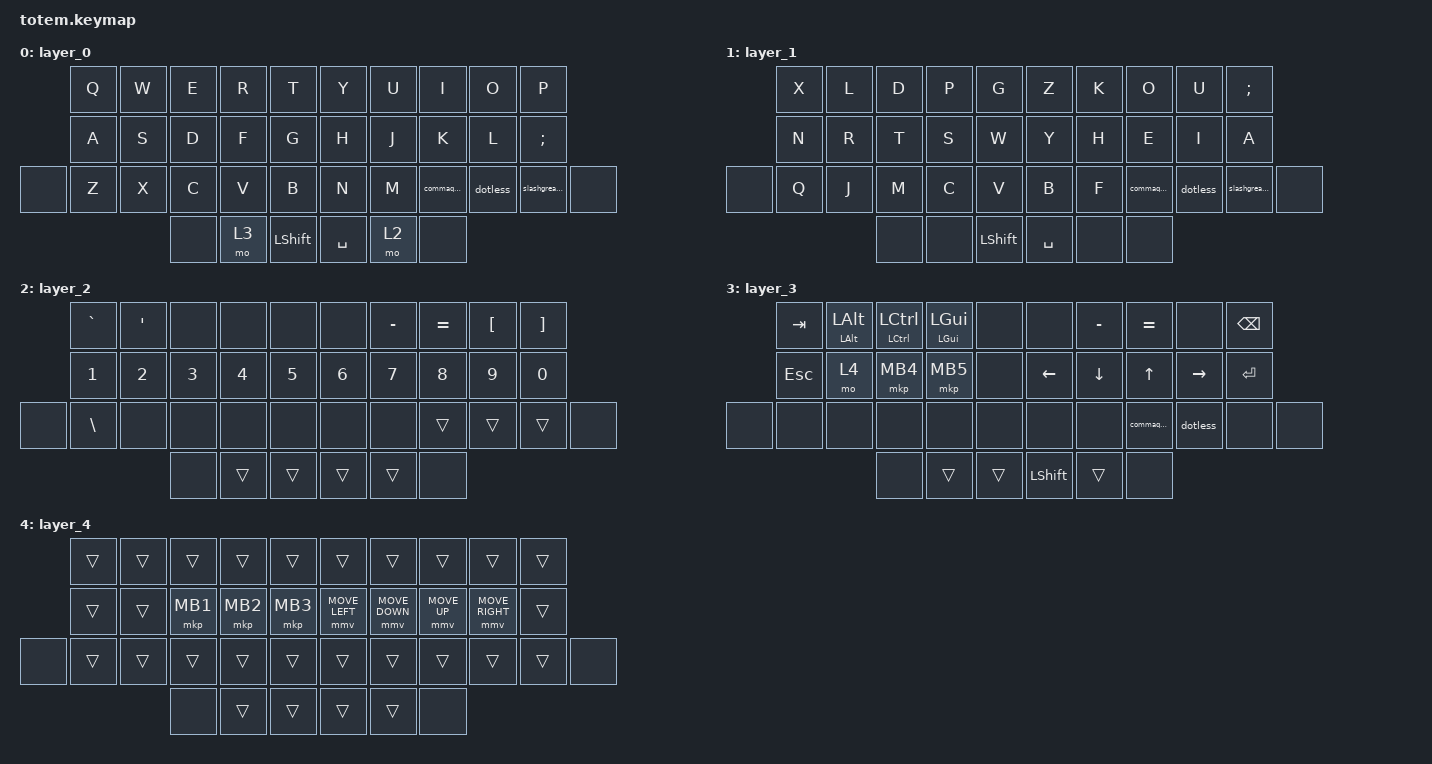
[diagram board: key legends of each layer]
#define ZMK_POINTING_DEFAULT_MOVE_VAL 1200

#include <behaviors.dtsi>
#include <dt-bindings/zmk/bt.h>
#include <dt-bindings/zmk/keys.h>
#include <dt-bindings/zmk/pointing.h>

/ {
    behaviors {
        commaqmrk: commaqmrk {
            compatible = "zmk,behavior-mod-morph";
            label = "COMMAQMRK";
            bindings = <&kp COMMA>, <&kp QUESTION>;

            #binding-cells = <0>;
            mods = <(MOD_LSFT|MOD_RSFT)>;
        };

        dotless: dotless {
            compatible = "zmk,behavior-mod-morph";
            label = "DOTLESS";
            bindings = <&kp PERIOD>, <&kp LESS_THAN>;

            #binding-cells = <0>;
            mods = <(MOD_LSFT|MOD_RSFT)>;
        };

        slashgreater: slashgreater {
            compatible = "zmk,behavior-mod-morph";
            label = "SLASHGREATER";
            bindings = <&kp SLASH>, <&kp GREATER_THAN>;

            #binding-cells = <0>;
            mods = <(MOD_LSFT|MOD_RSFT)>;
        };

        stickyhold: stickyhold {
            compatible = "zmk,behavior-hold-tap";
            label = "STICKYHOLD";
            bindings = <&kp>, <&sk>;

            #binding-cells = <2>;
            tapping-term-ms = <300>;
        };
    };

    keymap {
        compatible = "zmk,keymap";

        layer_0 {
            bindings = <
       &kp Q  &kp W  &kp E  &kp R  &kp T        &kp Y      &kp U  &kp I      &kp O     &kp P
       &kp A  &kp S  &kp D  &kp F  &kp G        &kp H      &kp J  &kp K      &kp L     &kp SEMI
&none  &kp Z  &kp X  &kp C  &kp V  &kp B        &kp N      &kp M  &commaqmrk  &dotless  &slashgreater  &none
                     &none  &mo 3  &kp LSHFT    &kp SPACE  &mo 2  &none
            >;
        };

        layer_1 {
            bindings = <
       &kp X  &kp L  &kp D  &kp P  &kp G        &kp Z      &kp K  &kp O      &kp U     &kp SEMI
       &kp N  &kp R  &kp T  &kp S  &kp W        &kp Y      &kp H  &kp E      &kp I     &kp A
&none  &kp Q  &kp J  &kp M  &kp C  &kp V        &kp B      &kp F  &commaqmrk  &dotless  &slashgreater  &none
                     &none  &none  &kp LSHFT    &kp SPACE  &none  &none
            >;
        };

        layer_2 {
            bindings = <
       &kp GRAVE  &kp SQT  &none   &none   &none     &none   &kp MINUS  &kp EQUAL  &kp LBKT  &kp RBKT
       &kp N1     &kp N2   &kp N3  &kp N4  &kp N5    &kp N6  &kp N7     &kp N8     &kp N9    &kp N0
&none  &kp BSLH   &none    &none   &none   &none     &none   &none      &trans     &trans    &trans    &none
                           &none   &trans  &trans    &trans  &trans     &none
            >;
        };

        layer_3 {
            bindings = <
       &kp TAB  &stickyhold LEFT_ALT LEFT_ALT  &stickyhold LCTRL LCTRL  &stickyhold LEFT_GUI LEFT_GUI  &none     &none      &kp MINUS  &kp EQUAL  &none      &kp BSPC
       &kp ESC  &mo 4                          &mkp MB4                 &mkp MB5                       &none     &kp LEFT   &kp DOWN   &kp UP     &kp RIGHT  &kp RET
&none  &none    &none                          &none                    &none                          &none     &none      &none      &commaqmrk  &dotless   &none     &none
                                               &none                    &trans                         &trans    &kp LSHFT  &trans     &none
            >;
        };

        layer_4 {
            bindings = <
       &trans  &trans  &trans    &trans    &trans      &trans          &trans          &trans        &trans           &trans
       &trans  &trans  &mkp MB1  &mkp MB2  &mkp MB3    &mmv MOVE_LEFT  &mmv MOVE_DOWN  &mmv MOVE_UP  &mmv MOVE_RIGHT  &trans
&none  &trans  &trans  &trans    &trans    &trans      &trans          &trans          &trans        &trans           &trans  &none
                       &none     &trans    &trans      &trans          &trans          &none
            >;
        };
    };
};
